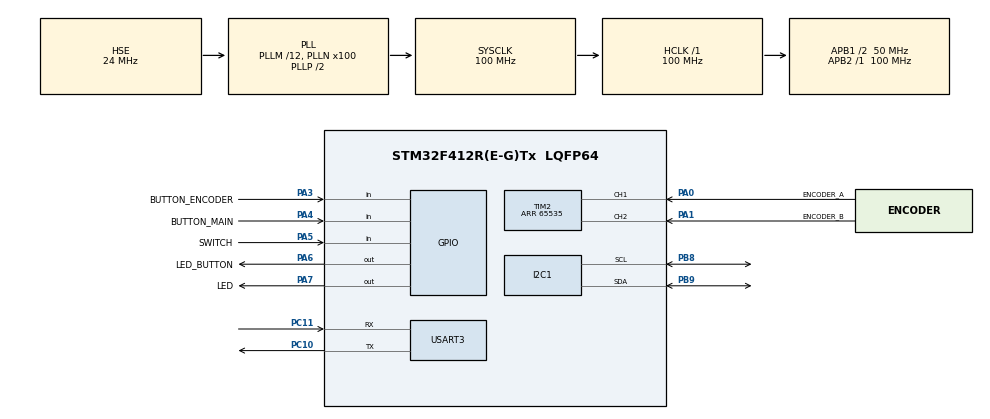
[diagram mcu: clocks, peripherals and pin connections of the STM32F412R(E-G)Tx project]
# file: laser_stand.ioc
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Mcu.Family=STM32F4
Mcu.Name=STM32F412R(E-G)Tx
Mcu.Package=LQFP64
NVIC.PriorityGroup=NVIC_PRIORITYGROUP_4
PA0.GPIO_Label=ENCODER_A
PA0.Signal=S_TIM2_CH1_ETR
PA1.GPIO_Label=ENCODER_B
PA1.Signal=S_TIM2_CH2
PA3.GPIO_Label=BUTTON_ENCODER
PA3.GPIO_PuPd=GPIO_PULLUP
PA3.Signal=GPIO_Input
PA4.GPIO_Label=BUTTON_MAIN
PA4.GPIO_PuPd=GPIO_PULLUP
PA4.Signal=GPIO_Input
PA5.GPIO_Label=SWITCH
PA5.GPIO_PuPd=GPIO_PULLUP
PA5.Signal=GPIO_Input
PA6.GPIO_Label=LED_BUTTON
PA6.Signal=GPIO_Output
PA7.GPIO_Label=LED
PA7.Signal=GPIO_Output
PB8.Mode=I2C
PB8.Signal=I2C1_SCL
PB9.Mode=I2C
PB9.Signal=I2C1_SDA
PC10.Mode=Asynchronous
PC10.Signal=USART3_TX
PC11.Mode=Asynchronous
PC11.Signal=USART3_RX
PC14-OSC32_IN.Mode=LSE-External-Oscillator
PC14-OSC32_IN.Signal=RCC_OSC32_IN
PC15-OSC32_OUT.Mode=LSE-External-Oscillator
PC15-OSC32_OUT.Signal=RCC_OSC32_OUT
PH0\ -\ OSC_IN.Mode=HSE-External-Oscillator
PH0\ -\ OSC_IN.Signal=RCC_OSC_IN
PH1\ -\ OSC_OUT.Mode=HSE-External-Oscillator
PH1\ -\ OSC_OUT.Signal=RCC_OSC_OUT
ProjectManager.HeapSize=0x200
ProjectManager.StackSize=0x400
ProjectManager.TargetToolchain=STM32CubeIDE
RCC.AHBFreq_Value=100000000
RCC.APB1CLKDivider=RCC_HCLK_DIV2
RCC.APB1Freq_Value=50000000
RCC.APB1TimFreq_Value=100000000
RCC.APB2Freq_Value=100000000
RCC.APB2TimFreq_Value=100000000
RCC.CortexFreq_Value=100000000
RCC.HCLKFreq_Value=100000000
RCC.HSE_VALUE=24000000
RCC.PLLI2SM=2
RCC.PLLM=12
RCC.PLLN=100
RCC.PLLSourceVirtual=RCC_PLLSOURCE_HSE
RCC.SYSCLKFreq_VALUE=100000000
RCC.SYSCLKSource=RCC_SYSCLKSOURCE_PLLCLK
RCC.USBFreq_Value=100000000
RCC.VCOOutputFreq_Value=200000000
SH.S_TIM2_CH1_ETR.0=TIM2_CH1,Encoder_Interface
SH.S_TIM2_CH2.0=TIM2_CH2,Encoder_Interface
TIM2.EncoderMode=TIM_ENCODERMODE_TI12
TIM2.Period=65535
USART3.VirtualMode=VM_ASYNC
board=custom

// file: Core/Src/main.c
/* USER CODE BEGIN Header */
/**
  ******************************************************************************
  * @file           : main.c
  * @brief          : Main program body
  ******************************************************************************
  * @attention
  *
  * Copyright (c) 2026 STMicroelectronics.
  * All rights reserved.
  *
  * This software is licensed under terms that can be found in the LICENSE file
  * in the root directory of this software component.
  * If no LICENSE file comes with this software, it is provided AS-IS.
  *
  ******************************************************************************
  */
/* USER CODE END Header */
#include "main.h"
#include "i2c.h"
#include "tim.h"
#include "usart.h"
#include "gpio.h"

/* USER CODE BEGIN Includes */
#include "stdio.h"

#include "common.h"
#include "app_context.h"
#include "app_state.h"
#include "button_handlers.h"
#include "liquidcrystal_i2c.h"
#include "laser_controller.h"
//#include "one_pulse_mode_TIM1.h"
#include "button.h"
#include "encoder.h"
#include "cooler.h"
#include "peltier.h"
#include "ui.h"
#include "menu.h"
#include "toggle_switch.h"
/* USER CODE END Includes */

/* USER CODE BEGIN PV */
app_state_manager_t app_state_manager;

laser_t laser;

button_t button_main;
button_t button_encoder;
toggle_switch_t toggle_switch;

encoder_t encoder = {
	.htim = &htim2,
	.step = 4,
	.limit = true
};

cooler_t cooler;
peltier_t peltier;
menu_t menu;
/* USER CODE END PV */

void SystemClock_Config(void);

/* USER CODE BEGIN 0 */
#ifdef __GNUC__
#define PUTCHAR_PROTOTYPE int __io_putchar(int ch)
#else
#define PUTCHAR_PROTOTYPE int fputc(int ch, FILE *f)
#endif

PUTCHAR_PROTOTYPE
{
  HAL_UART_Transmit(&huart3, (uint8_t *)&ch, 1, HAL_MAX_DELAY);
  return ch;
}

void TIM1_UP_TIM10_IRQHandler(void)
{
	laser_handle_up_interrupt(&laser);
}
/* USER CODE END 0 */

int main(void)
{

  /* MCU Configuration--------------------------------------------------------*/

  /* Reset of all peripherals, Initializes the Flash interface and the Systick. */
  HAL_Init();

  /* Configure the system clock */
  SystemClock_Config();

  /* Initialize all configured peripherals */
  MX_GPIO_Init();
  MX_I2C1_Init();
  MX_TIM2_Init();
  MX_USART3_UART_Init();
  /* USER CODE BEGIN 2 */
  app_state_init(&app_state_manager);

  init_laser_controller(&laser);

  HAL_TIM_Encoder_Start(&htim2, TIM_CHANNEL_ALL);
  encoder_init(&encoder);

  // инициализация кнопок
  button_init(&button_main,
		  BUTTON_MAIN_GPIO_Port,
  		  BUTTON_MAIN_Pin,
  		  BUTTON_ID_MAIN,
  		  BUTTON_MODE_POLLING,
  		  on_main_button_short_press,
  		  on_main_button_long_press,
  		  NULL,
  		  &app_state_manager);

  button_init(&button_encoder,
  		  BUTTON_ENCODER_GPIO_Port,
  		  BUTTON_ENCODER_Pin,
  		  BUTTON_ID_UP,
  		  BUTTON_MODE_POLLING,
  		  on_encoder_button_short_press,
  		  on_encoder_button_long_press,
  		  NULL,
  		  &app_state_manager);

  toggle_switch_init(&toggle_switch,
  		  SWITCH_GPIO_Port,
  		  SWITCH_Pin,
  		  TOGGLE_SWITCH_ID_MAIN,
  		  TOGGLE_SWITCH_MODE_POLLING,
  		  on_toggle_switch_state_change,
  		  &app_state_manager);

  cooler_init(&cooler);
  peltier_init(&peltier);

  menu_init(&menu);
  ui_init();
  /* USER CODE END 2 */

  /* Infinite loop */
  /* USER CODE BEGIN WHILE */
  while (1)
  {
	  // heartbeat
	  blink_led(LED_GPIO_Port, LED_Pin, HEARTBEAT_DELAY);

	  // обработка нажатия кнопок
	  handle_button_events(&button_main);
	  handle_button_events(&button_encoder);
	  handle_toggle_switch_events(&toggle_switch);

	  app_update(&app_state_manager);
    /* USER CODE END WHILE */

  }
}

void SystemClock_Config(void)
{
  RCC_OscInitTypeDef RCC_OscInitStruct = {0};
  RCC_ClkInitTypeDef RCC_ClkInitStruct = {0};

  /** Configure the main internal regulator output voltage
  */
  __HAL_RCC_PWR_CLK_ENABLE();
  __HAL_PWR_VOLTAGESCALING_CONFIG(PWR_REGULATOR_VOLTAGE_SCALE1);

  /** Initializes the RCC Oscillators according to the specified parameters
  * in the RCC_OscInitTypeDef structure.
  */
  RCC_OscInitStruct.OscillatorType = RCC_OSCILLATORTYPE_HSE;
  RCC_OscInitStruct.HSEState = RCC_HSE_ON;
  RCC_OscInitStruct.PLL.PLLState = RCC_PLL_ON;
  RCC_OscInitStruct.PLL.PLLSource = RCC_PLLSOURCE_HSE;
  RCC_OscInitStruct.PLL.PLLM = 12;
  RCC_OscInitStruct.PLL.PLLN = 100;
  RCC_OscInitStruct.PLL.PLLP = RCC_PLLP_DIV2;
  RCC_OscInitStruct.PLL.PLLQ = 2;
  RCC_OscInitStruct.PLL.PLLR = 2;
  if (HAL_RCC_OscConfig(&RCC_OscInitStruct) != HAL_OK)
  {
    Error_Handler();
  }

  /** Initializes the CPU, AHB and APB buses clocks
  */
  RCC_ClkInitStruct.ClockType = RCC_CLOCKTYPE_HCLK|RCC_CLOCKTYPE_SYSCLK
                              |RCC_CLOCKTYPE_PCLK1|RCC_CLOCKTYPE_PCLK2;
  RCC_ClkInitStruct.SYSCLKSource = RCC_SYSCLKSOURCE_PLLCLK;
  RCC_ClkInitStruct.AHBCLKDivider = RCC_SYSCLK_DIV1;
  RCC_ClkInitStruct.APB1CLKDivider = RCC_HCLK_DIV2;
  RCC_ClkInitStruct.APB2CLKDivider = RCC_HCLK_DIV1;

  if (HAL_RCC_ClockConfig(&RCC_ClkInitStruct, FLASH_LATENCY_3) != HAL_OK)
  {
    Error_Handler();
  }
}

void Error_Handler(void)
{
  __disable_irq();
  while (1)
  {
  }
}
